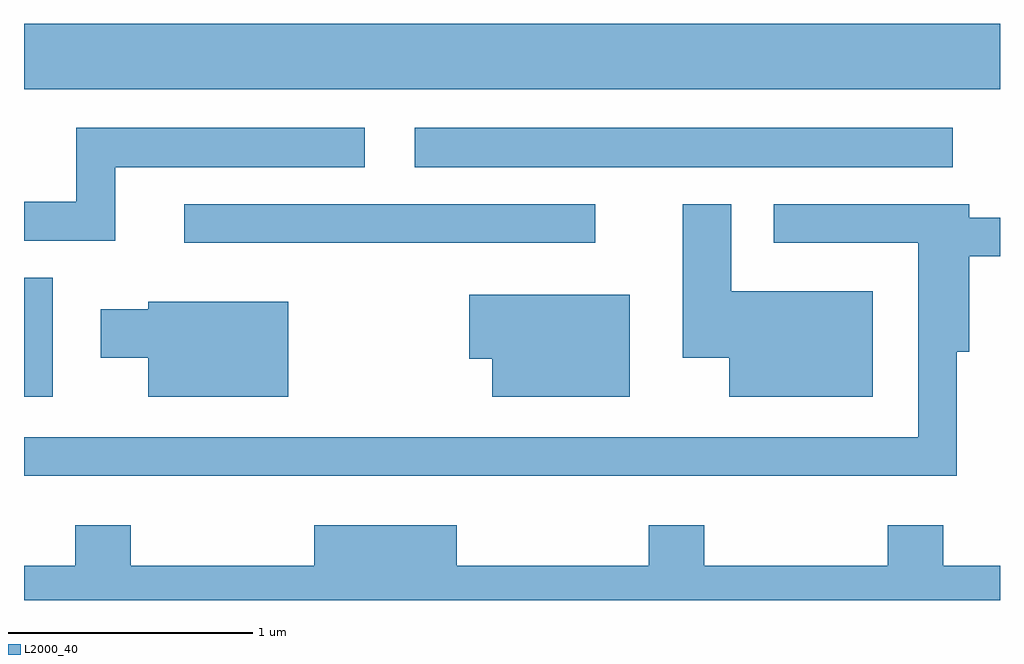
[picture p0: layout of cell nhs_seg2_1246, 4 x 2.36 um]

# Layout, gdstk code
import gdstk
lib = gdstk.Library(unit=1e-6, precision=1e-09)
def R(c, l, rs):  # rectangles x0, y0, x1, y1
    for r in rs: c.add(gdstk.rectangle(r[:2], r[2:], *l))
def P(c, l, *ps):  # polygons
    for p in ps: c.add(gdstk.Polygon(p, *l))
L2000_40 = (2000, 40)

nhs_seg2_1246 = lib.new_cell('nhs_seg2_1246')
R(nhs_seg2_1246, L2000_40, [(221.611,1022.636,221.729,1023.124), (222.268,1023.266,223.953,1023.424), (223.213,1023.576,225.418,1023.739), (221.611,1023.896,225.611,1024.164)])
P(nhs_seg2_1246, L2000_40, [(221.984,1023.576),(223.008,1023.576),(223.008,1023.739),(221.826,1023.739),(221.826,1023.434),(221.611,1023.434),(221.611,1023.276),(221.984,1023.276)],
  [(225.089,1023.069),(224.509,1023.069),(224.509,1023.424),(224.311,1023.424),(224.311,1022.796),(224.501,1022.796),(224.501,1022.636),(225.089,1022.636)],
  [(225.434,1022.821),(225.484,1022.821),(225.484,1023.211),(225.611,1023.211),(225.611,1023.369),(225.484,1023.369),(225.484,1023.424),(224.683,1023.424),(224.683,1023.266),(225.276,1023.266),(225.276,1022.469),(221.611,1022.469),(221.611,1022.311),(225.434,1022.311)],
  [(224.094,1023.054),(223.436,1023.054),(223.436,1022.791),(223.531,1022.791),(223.531,1022.636),(224.094,1022.636)],
  [(222.694,1023.024),(222.121,1023.024),(222.121,1022.994),(221.926,1022.994),(221.926,1022.796),(222.121,1022.796),(222.121,1022.636),(222.694,1022.636)],
  [(225.611,1021.944),(225.379,1021.944),(225.379,1022.109),(225.151,1022.109),(225.151,1021.944),(224.399,1021.944),(224.399,1022.109),(224.171,1022.109),(224.171,1021.944),(223.384,1021.944),(223.384,1022.109),(222.801,1022.109),(222.801,1021.944),(222.049,1021.944),(222.049,1022.109),(221.821,1022.109),(221.821,1021.944),(221.611,1021.944),(221.611,1021.802),(225.611,1021.802)])

lib.write_gds('nhs_seg2_1246.gds')
